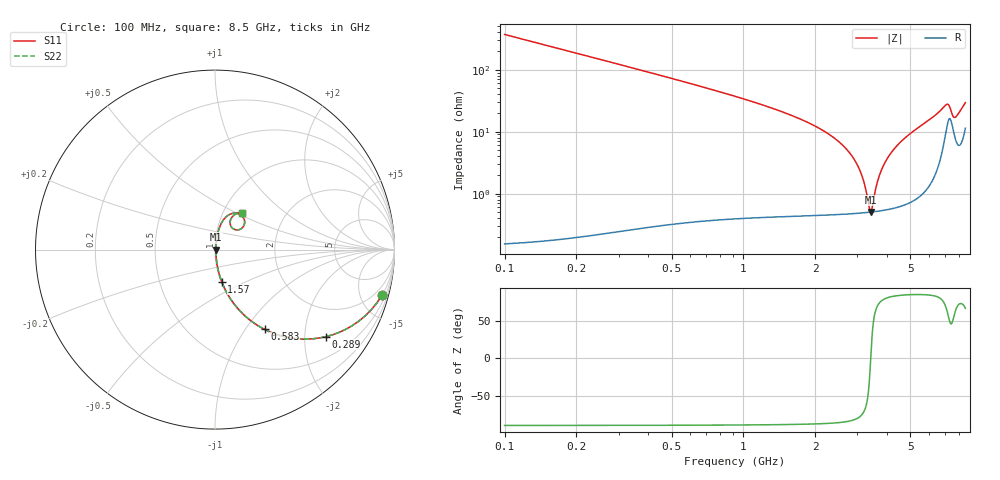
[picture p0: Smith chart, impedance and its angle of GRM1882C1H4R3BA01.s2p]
!Murata Part Number: GRM1882C1H4R3BA01
!These Parameters are Measured in Series Mode Connection
!Data Generated on Mar 30, 2021
!  o--ll--o
!Port1  Port2
!  o------o
!Operation Temp=25[degC], DC Bias Voltage=0[V]
!Freq. Start=100[MHz] Stop=9[GHz] 401[Steps]
# Hz S RI R 50
!Freq.(Hz) S11(Real) S11(Imag) S21(Real) S21(Imag) S12(Real) S12(Imag) S22(Real) S22(Imag)
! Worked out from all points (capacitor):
!   401 points, 100 MHz to 8.5 GHz, reference 50 ohm
!   read as one part in series: C = 4.3 pF near 142 MHz
!   lowest |Z| = 505 mohm at 3.418 GHz (marker M1)
!   series resonance near 3.411 GHz, so ESL is about 510 pH
!   S11 on the Smith chart (normalised r, x): 100 MHz: 1.00, -7.40; 289 MHz: 1.00, -2.54; 583 MHz: 1.01, -1.23; 1.57 GHz: 1.01, -0.37; 8.5 GHz: 1.23, +0.54
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1e8  0.9317 -0.252  0.0683 0.252  0.0683 0.252  0.9317 -0.252
2.05e8  0.7635 -0.4244  0.2365 0.4244  0.2365 0.4244  0.7635 -0.4244
2.89e8  0.6172 -0.4851  0.3828 0.4851  0.3828 0.4851  0.6172 -0.4851
5.83e8  0.2758 -0.4442  0.7242 0.4442  0.7242 0.4442  0.2758 -0.4442
9.4e8  0.1194 -0.3189  0.8806 0.3189  0.8806 0.3189  0.1194 -0.3189
1.507e9  0.0416 -0.1891  0.9584 0.1891  0.9584 0.1891  0.0416 -0.1891
1.57e9  0.0374 -0.1786  0.9626 0.1786  0.9626 0.1786  0.0374 -0.1786
2.41e9  0.0105 -0.0767  0.9895 0.0767  0.9895 0.0767  0.0105 -0.0767
2.914e9  0.00595 -0.0346  0.9941 0.0346  0.9941 0.0346  0.00595 -0.0346
3.145e9  0.00517 -0.0179  0.9948 0.0179  0.9948 0.0179  0.00517 -0.0179
3.376e9  0.00499 -0.00231  0.995 0.00231  0.995 0.00231  0.00499 -0.00231
3.418e9  0.00501 0.000425  0.995 -0.000425  0.995 -0.000425  0.00501 0.000425
3.628e9  0.00534 0.0137  0.9947 -0.0137  0.9947 -0.0137  0.00534 0.0137
3.775e9  0.00578 0.0226  0.9942 -0.0226  0.9942 -0.0226  0.00578 0.0226
4.006e9  0.00679 0.0362  0.9932 -0.0362  0.9932 -0.0362  0.00679 0.0362
4.3e9  0.00863 0.0528  0.9914 -0.0528  0.9914 -0.0528  0.00863 0.0528
4.867e9  0.0139 0.0837  0.9861 -0.0837  0.9861 -0.0837  0.0139 0.0837
5.707e9  0.0277 0.1299  0.9723 -0.1299  0.9723 -0.1299  0.0277 0.1299
6.589e9  0.0664 0.1864  0.9336 -0.1864  0.9336 -0.1864  0.0664 0.1864
7.114e9  0.1491 0.1889  0.8509 -0.1889  0.8509 -0.1889  0.1491 0.1889
7.639e9  0.0971 0.1196  0.9029 -0.1196  0.9029 -0.1196  0.0971 0.1196
8.5e9  0.1525 0.2066  0.8475 -0.2066  0.8475 -0.2066  0.1525 0.2066
